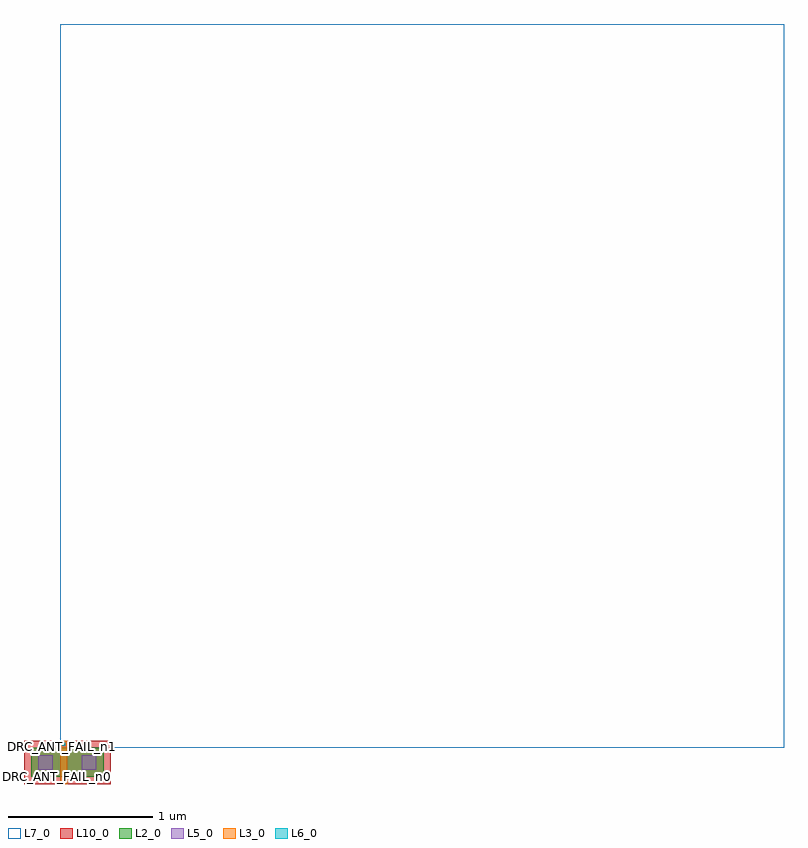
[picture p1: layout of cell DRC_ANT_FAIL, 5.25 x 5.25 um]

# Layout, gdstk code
import gdstk
lib = gdstk.Library(unit=1e-6, precision=1e-09)
def R(c, l, rs):  # rectangles x0, y0, x1, y1
    for r in rs: c.add(gdstk.rectangle(r[:2], r[2:], *l))
L2_0 = (2, 0)
L3_0 = (3, 0)
L5_0 = (5, 0)
L6_0 = (6, 0)
L7_0 = (7, 0)
L10_0 = (10, 0)

drc_ant_fail = lib.new_cell('DRC_ANT_FAIL')
R(drc_ant_fail, L2_0, [(0,0,0.5,0.2)])
R(drc_ant_fail, L3_0, [(0.2,-0.05,0.25,0.25)])
R(drc_ant_fail, L5_0, [(0.05,0.05,0.15,0.15), (0.35,0.05,0.45,0.15), (0.21,0.21,0.24,0.24)])
R(drc_ant_fail, L6_0, [(0.215,0.215,0.235,0.235)])
R(drc_ant_fail, L7_0, [(0.2,0.2,5.2,5.2)])
R(drc_ant_fail, L10_0, [(-0.05,-0.05,0.55,0.25)])
drc_ant_fail.add(gdstk.Label('DRC_ANT_FAIL_n0', (0,0), layer=2, texttype=5))
drc_ant_fail.add(gdstk.Label('DRC_ANT_FAIL_n1', (0.21,0.21), layer=5, texttype=5))
drc_ant_fail.add(gdstk.Label('DRC_ANT_FAIL_n2', (0.05,0.05), layer=5, texttype=5))
drc_ant_fail.add(gdstk.Label('DRC_ANT_FAIL_n3', (0.35,0.05), layer=5, texttype=5))
drc_ant_fail.add(gdstk.Label('DRC_ANT_FAIL_n4', (0.2,-0.05), layer=3, texttype=5))

lib.write_gds('DRC_ANT_FAIL.gds')
